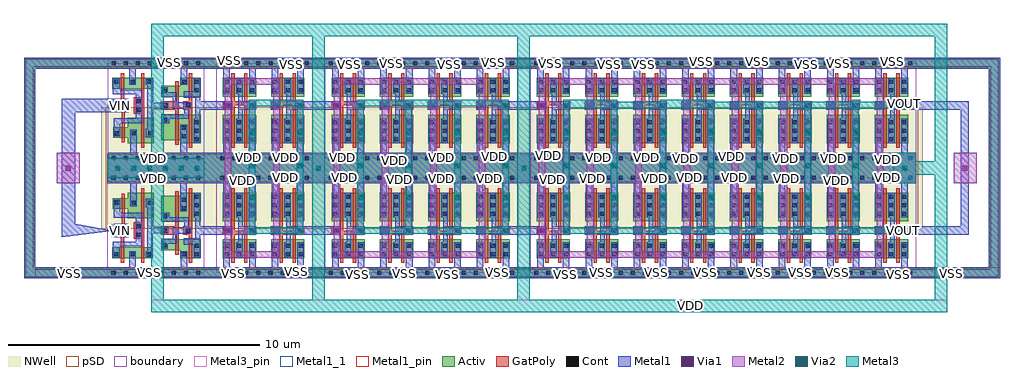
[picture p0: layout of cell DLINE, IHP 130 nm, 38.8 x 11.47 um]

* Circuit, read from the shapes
.subckt DLINE VDD VIN VOUT VSS
XM1 VSS VIN n1 VSS sg13_lv_nmos w=0.42u l=0.13u
XM2 VSS VIN n2 VSS sg13_lv_nmos w=0.42u l=0.13u
XM3 n3 n1 VSS VSS sg13_lv_nmos w=0.42u l=0.13u
XM4 n4 n2 VSS VSS sg13_lv_nmos w=0.42u l=0.13u
XM5 VSS n3 n5 VSS sg13_lv_nmos w=0.42u l=0.13u
XM6 VSS n4 n6 VSS sg13_lv_nmos w=0.42u l=0.13u
XM7 n7 n5 VSS VSS sg13_lv_nmos w=0.74u l=0.13u
XM8 n7 n6 VSS VSS sg13_lv_nmos w=0.74u l=0.13u
XM9 n8 n7 VSS VSS sg13_lv_nmos w=0.74u l=0.13u m=8
XM10 n9 n8 VSS VSS sg13_lv_nmos w=0.74u l=0.13u m=16
XM11 n10 n9 VSS VSS sg13_lv_nmos w=0.74u l=0.13u m=28
XM12 VOUT n9 VSS VSS sg13_lv_nmos w=0.74u l=0.13u m=4
XM13 VDD VIN n1 n11 sg13_lv_pmos w=0.42u l=0.13u
XM14 VDD VIN n2 n11 sg13_lv_pmos w=0.42u l=0.13u
XM15 n3 n1 VDD n11 sg13_lv_pmos w=1u l=0.13u
XM16 n4 n2 VDD n11 sg13_lv_pmos w=1u l=0.13u
XM17 VDD n3 n5 n11 sg13_lv_pmos w=1u l=0.13u
XM18 VDD n4 n6 n11 sg13_lv_pmos w=1u l=0.13u
XM19 n7 n5 VDD n11 sg13_lv_pmos w=1.12u l=0.13u
XM20 n7 n6 VDD n11 sg13_lv_pmos w=1.12u l=0.13u
XM21 n8 n7 VDD n11 sg13_lv_pmos w=1.12u l=0.13u m=8
XM22 n9 n8 VDD n11 sg13_lv_pmos w=1.12u l=0.13u m=16
XM23 n10 n9 VDD n11 sg13_lv_pmos w=1.12u l=0.13u m=28
XM24 VOUT n9 VDD n11 sg13_lv_pmos w=1.12u l=0.13u m=4
.ends

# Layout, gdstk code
import gdstk
lib = gdstk.Library(unit=1e-6, precision=1e-09)
def R(c, l, rs):  # rectangles x0, y0, x1, y1
    for r in rs: c.add(gdstk.rectangle(r[:2], r[2:], *l))
def A(c, l, x, y, w, h, nx, ny, dx, dy):  # array of equal rectangles
    R(c, l, [(x+i*dx, y+j*dy, x+i*dx+w, y+j*dy+h) for i in range(nx) for j in range(ny)])
def P(c, l, *ps):  # polygons
    for p in ps: c.add(gdstk.Polygon(p, *l))
Activ = (1, 0)
GatPoly = (5, 0)
Cont = (6, 0)
Metal1 = (8, 0)
Metal1_1 = (8, 1)
Metal1_pin = (8, 2)
Metal2 = (10, 0)
pSD = (14, 0)
Via1 = (19, 0)
Via2 = (29, 0)
Metal3 = (30, 0)
Metal3_pin = (30, 2)
NWell = (31, 0)
boundary = (189, 4)

sg13g2_dlygate4sd1_1 = lib.new_cell('sg13g2_dlygate4sd1_1')
R(sg13g2_dlygate4sd1_1, Activ, [(0,-0.15,3.84,0.15), (0.19,0.59,1.81,1.01), (0,3.63,3.84,3.93)])
P(sg13g2_dlygate4sd1_1, Activ, [(2.895,0.59),(2.895,0.91),(2.13,0.91),(2.13,1.33),(3.705,1.33),(3.705,0.59)],
  [(2.13,2.06),(2.13,3.06),(2.91,3.06),(2.91,3.18),(3.705,3.18),(3.705,2.06)],
  [(0.8,2.18),(0.8,2.555),(0.22,2.555),(0.22,2.975),(0.8,2.975),(0.8,3.18),(1.84,3.18),(1.84,2.18)])
P(sg13g2_dlygate4sd1_1, GatPoly, [(2.695,0.73),(2.695,1.52),(2.12,1.52),(2.12,1.85),(2.695,1.85),(2.695,3.24),(2.825,3.24),(2.825,0.73)],
  [(0.53,0.41),(0.53,1.74),(0.56,1.74),(0.56,3.155),(0.69,3.155),(0.69,1.74),(0.84,1.74),(0.84,1.41),(0.66,1.41),(0.66,0.41)],
  [(1.34,0.41),(1.34,1.35),(1.05,1.35),(1.05,2.02),(1.34,2.02),(1.34,3.36),(1.47,3.36),(1.47,0.41)],
  [(3.235,0.41),(3.235,1.515),(3.02,1.515),(3.02,1.845),(3.235,1.845),(3.235,3.36),(3.365,3.36),(3.365,0.41)])
A(sg13g2_dlygate4sd1_1, Cont, 0.16, -0.08, 0.16, 0.16, 8, 2, 0.48, 3.78)
A(sg13g2_dlygate4sd1_1, Cont, 0.26, 0.66, 0.16, 0.16, 3, 1, 0.66, 0)
A(sg13g2_dlygate4sd1_1, Cont, 3.475, 2.27, 0.16, 0.16, 1, 3, 0, 0.34)
R(sg13g2_dlygate4sd1_1, Cont, [(2.965,0.66,3.125,0.82), (3.475,0.66,3.635,0.82), (3.475,1,3.635,1.16), (2.2,1.015,2.36,1.175), (1.165,1.435,1.325,1.595), (0.605,1.495,0.765,1.655), (3.105,1.6,3.265,1.76), (2.205,1.605,2.365,1.765), (1.165,1.775,1.325,1.935), (2.215,2.165,2.375,2.325), (2.95,2.495,3.11,2.655), (0.29,2.7,0.45,2.86), (0.96,2.7,1.12,2.86), (1.61,2.7,1.77,2.86), (2.95,2.835,3.11,2.995)])
R(sg13g2_dlygate4sd1_1, Metal1, [(3.025,1.12,3.685,1.37), (0.24,1.425,0.835,1.945)])
P(sg13g2_dlygate4sd1_1, Metal1, [(2.155,0.96),(2.155,1.36),(2.595,1.36),(2.595,1.81),(3.045,1.81),(3.045,2.03),(2.14,2.03),(2.14,2.395),(2.45,2.395),(2.45,2.205),(3.235,2.205),(3.235,1.81),(3.315,1.81),(3.315,1.55),(2.755,1.55),(2.755,1.16),(2.395,1.16),(2.395,0.96)],
  [(3.425,0.61),(3.425,1.37),(3.495,1.37),(3.495,2.22),(3.43,2.22),(3.43,3.16),(3.685,3.16),(3.685,0.61)],
  [(1.52,0.615),(1.52,0.87),(1.58,0.87),(1.58,2.615),(1.52,2.615),(1.52,2.945),(1.825,2.945),(1.825,1.83),(2.415,1.83),(2.415,1.57),(1.81,1.57),(1.81,0.615)],
  [(0.21,0.61),(0.21,1.24),(1.12,1.24),(1.12,2.195),(0.24,2.195),(0.24,2.91),(0.5,2.91),(0.5,2.4),(1.375,2.4),(1.375,1.065),(0.48,1.065),(0.48,0.61)],
  [(2.9,2.455),(2.9,3.56),(1.17,3.56),(1.17,2.65),(0.91,2.65),(0.91,3.56),(0,3.56),(0,4),(3.84,4),(3.84,3.56),(3.16,3.56),(3.16,2.455)],
  [(0,-0.22),(0,0.22),(0.87,0.22),(0.87,0.87),(1.13,0.87),(1.13,0.22),(2.915,0.22),(2.915,0.87),(3.175,0.87),(3.175,0.22),(3.84,0.22),(3.84,-0.22)])
R(sg13g2_dlygate4sd1_1, Metal1_pin, [(0,-0.22,3.84,0.22), (3.025,1.12,3.685,1.37), (0.24,1.425,0.835,1.945), (0,3.56,3.84,4)])
R(sg13g2_dlygate4sd1_1, pSD, [(-0.07,-0.18,3.91,0.18), (-0.07,1.76,3.91,3.6)])
R(sg13g2_dlygate4sd1_1, NWell, [(-0.24,1.75,4.08,4.17)])
R(sg13g2_dlygate4sd1_1, boundary, [(0,0,3.84,3.78)])

sg13g2_inv_2 = lib.new_cell('sg13g2_inv_2')
R(sg13g2_inv_2, Activ, [(0,-0.15,1.92,0.15), (0.265,0.59,1.585,1.33), (0.265,2.06,1.59,3.18), (0,3.63,1.92,3.93)])
P(sg13g2_inv_2, GatPoly, [(0.605,0.41),(0.605,1.52),(0.305,1.52),(0.305,1.85),(0.605,1.85),(0.605,3.36),(0.735,3.36),(0.735,1.67),(1.115,1.67),(1.115,3.36),(1.245,3.36),(1.245,0.41),(1.115,0.41),(1.115,1.52),(0.735,1.52),(0.735,0.41)])
A(sg13g2_inv_2, Cont, 0.335, 0.66, 0.16, 0.16, 3, 2, 0.51, 0.34)
A(sg13g2_inv_2, Cont, 0.335, 2.27, 0.16, 0.16, 1, 3, 0, 0.34)
A(sg13g2_inv_2, Cont, 0.845, 2.27, 0.16, 0.16, 1, 3, 0, 0.34)
A(sg13g2_inv_2, Cont, 1.36, 2.27, 0.16, 0.16, 1, 3, 0, 0.34)
R(sg13g2_inv_2, Cont, [(0.16,-0.08,0.32,0.08), (0.16,-0.08,0.32,0.08), (0.64,-0.08,0.8,0.08), (0.64,-0.08,0.8,0.08), (1.12,-0.08,1.28,0.08), (1.12,-0.08,1.28,0.08), (1.6,-0.08,1.76,0.08), (1.6,-0.08,1.76,0.08), (0.39,1.605,0.55,1.765), (0.16,3.7,0.32,3.86), (0.16,3.7,0.32,3.86), (0.64,3.7,0.8,3.86), (0.64,3.7,0.8,3.86), (1.12,3.7,1.28,3.86), (1.12,3.7,1.28,3.86), (1.6,3.7,1.76,3.86), (1.6,3.7,1.76,3.86)])
R(sg13g2_inv_2, Metal1, [(0.255,1.52,0.635,1.85)])
P(sg13g2_inv_2, Metal1, [(0.285,2.22),(0.285,3.56),(0,3.56),(0,4),(1.92,4),(1.92,3.56),(1.57,3.56),(1.57,2.22),(1.31,2.22),(1.31,3.56),(0.545,3.56),(0.545,2.22)],
  [(0,-0.22),(0,0.22),(0.285,0.22),(0.285,1.21),(0.545,1.21),(0.545,0.22),(1.305,0.22),(1.305,1.21),(1.565,1.21),(1.565,0.22),(1.92,0.22),(1.92,-0.22)],
  [(0.795,0.61),(0.795,1.21),(0.87,1.21),(0.87,2.22),(0.795,2.22),(0.795,3.18),(1.055,3.18),(1.055,1.85),(1.59,1.85),(1.59,1.52),(1.055,1.52),(1.055,0.61)])
R(sg13g2_inv_2, Metal1_pin, [(0,-0.22,1.92,0.22), (0.255,1.52,0.635,1.85), (0.87,1.52,1.59,1.85), (0,3.56,1.92,4)])
R(sg13g2_inv_2, pSD, [(-0.07,-0.18,1.99,0.18), (-0.07,1.76,1.99,3.6)])
R(sg13g2_inv_2, NWell, [(-0.24,1.75,2.16,4.17)])
R(sg13g2_inv_2, boundary, [(0,0,1.92,3.78)])

dline = lib.new_cell('DLINE')
R(dline, Activ, [(1.07,3.72,1.22,12.36), (1.22,3.72,4.318,4.015), (1.22,3.72,1.37,12.36), (8.158,3.72,8.64,4.02), (12.475,3.72,12.96,4.02), (20.64,3.72,21.122,4.02), (36.48,3.72,39.58,4.02), (39.43,3.72,39.58,12.36), (39.58,3.72,39.73,12.36), (4.318,7.5,36.48,8.58), (8.158,7.5,8.64,7.8), (12.478,7.5,12.96,7.8), (20.638,7.5,21.12,7.8), (8.158,8.28,8.64,8.58), (12.478,8.28,12.96,8.58), (20.638,8.28,21.12,8.58), (1.22,12.06,4.32,12.36), (8.158,12.06,8.64,12.36), (12.478,12.06,12.96,12.36), (20.64,12.06,21.122,12.36)])
P(dline, Activ, [(36.48,12.06),(36.48,12.195),(36.48,12.36),(39.58,12.36),(39.58,12.06),(36.55,12.06)])
R(dline, Metal1, [(8.158,3.65,8.64,4.09), (12.475,3.65,12.96,4.09), (20.64,3.65,21.122,4.09), (4.32,7.43,36.48,8.65), (8.158,7.43,8.64,7.87), (12.478,7.43,12.96,7.87), (20.638,7.43,21.12,7.87), (8.158,8.21,8.64,8.65), (12.478,8.21,12.96,8.65), (20.638,8.21,21.12,8.65), (8.158,11.99,8.64,12.43), (12.478,11.99,12.96,12.43), (20.64,11.99,21.122,12.43)])
P(dline, Metal1_1, [(2.705,8.11),(2.705,8.11),(2.705,8.11),(2.705,8.11)])
R(dline, Metal1_pin, [(1.44,3.65,39.8,4.09), (17.775,3.73,17.905,3.86), (22.46,3.73,22.59,3.86), (14.175,3.755,14.305,3.885), (35.705,3.755,35.835,3.885), (2.735,3.77,2.865,3.9), (16.06,3.77,16.19,3.9), (37.79,3.77,37.92,3.9), (9.28,3.795,9.41,3.925), (5.92,3.81,6.05,3.94), (28.045,3.81,28.175,3.94), (30.155,3.81,30.285,3.94), (31.8,3.81,31.93,3.94), (33.275,3.81,33.405,3.94), (19.775,3.825,19.905,3.955), (23.905,3.835,24.035,3.965), (26.07,3.835,26.2,3.965), (11.775,3.865,11.905,3.995), (4.755,5.475,4.885,5.605), (35.905,5.48,36.035,5.61), (4.32,7.43,36.48,8.65), (33.235,7.465,33.365,7.595), (9.615,7.495,9.745,7.625), (15.865,7.505,15.995,7.635), (21.955,7.525,22.085,7.655), (17.525,7.54,17.655,7.67), (19.455,7.55,19.585,7.68), (31.25,7.55,31.38,7.68), (6.1,7.57,6.23,7.7), (23.53,7.57,23.66,7.7), (26.01,7.57,26.14,7.7), (35.28,7.58,35.41,7.71), (13.68,7.6,13.81,7.73), (27.385,7.6,27.515,7.73), (11.32,7.61,11.45,7.74), (29.2,7.61,29.33,7.74), (15.675,8.285,15.805,8.415), (35.26,8.315,35.39,8.445), (31.22,8.335,31.35,8.465), (33.1,8.335,33.23,8.465), (6.09,8.355,6.22,8.485), (27.225,8.355,27.355,8.485), (13.585,8.38,13.715,8.51), (17.525,8.38,17.655,8.51), (9.84,8.39,9.97,8.52), (25.685,8.39,25.815,8.52), (11.32,8.4,11.45,8.53), (23.76,8.4,23.89,8.53), (19.625,8.42,19.755,8.55), (29.045,8.45,29.175,8.58), (21.79,8.47,21.92,8.6), (4.78,10.445,4.91,10.575), (35.935,10.52,36.065,10.65), (4.32,11.99,36.48,12.43), (24.225,12.075,24.355,12.205), (11.555,12.08,11.685,12.21), (13.885,12.08,14.015,12.21), (17.865,12.09,17.995,12.22), (25.545,12.105,25.675,12.235), (32.035,12.105,32.165,12.235), (15.525,12.115,15.655,12.245), (21.86,12.115,21.99,12.245), (33.32,12.115,33.45,12.245), (6.72,12.155,6.85,12.285), (19.605,12.17,19.735,12.3), (30.105,12.19,30.235,12.32), (27.87,12.2,28,12.33), (35.46,12.2,35.59,12.33), (9.095,12.25,9.225,12.38)])
R(dline, Metal2, [(2.3,7.43,3.215,8.65), (12.453,7.43,12.95,8.65), (20.61,7.43,21.145,8.65), (35.565,7.43,36.48,8.65), (37.955,7.43,38.87,8.65), (4.32,7.65,8.158,8.43)])
R(dline, pSD, [(1.04,3.69,4.248,4.05), (8.228,3.69,8.57,4.05), (12.545,3.69,12.89,4.05), (20.71,3.69,21.052,4.05), (36.55,3.69,39.4,4.05), (39.4,3.69,39.76,12.03), (1.04,4.05,1.4,12.39), (4.248,5.63,36.55,10.45), (8.228,5.63,8.57,7.47), (12.549,5.63,12.89,7.47), (20.71,5.63,21.05,7.47), (8.23,8.61,8.57,10.45), (12.55,8.61,12.89,10.45), (20.71,8.61,21.05,10.45), (1.4,12.03,4.25,12.39), (8.228,12.03,8.57,12.39), (12.548,12.03,12.89,12.39), (20.71,12.03,21.052,12.39), (36.55,12.03,36.552,12.39), (36.552,12.03,39.76,12.39)])
P(dline, pSD, [(36.552,12.03),(36.552,12.03),(36.552,12.03),(36.552,12.03)])
A(dline, Via1, 9.015, 5.46, 0.19, 0.19, 3, 1, 0.96, 0)
A(dline, Via1, 30.13, 5.46, 0.19, 0.19, 3, 1, 0.965, 0)
A(dline, Via1, 31.095, 10.425, 0.19, 0.19, 3, 1, 0.96, 0)
R(dline, Via1, [(11.88,5.46,12.07,5.65), (13.34,5.46,13.53,5.65), (14.285,5.46,14.475,5.65), (15.26,5.46,15.45,5.65), (16.2,5.46,16.39,5.65), (17.175,5.46,17.365,5.65), (18.14,5.46,18.33,5.65), (19.1,5.46,19.29,5.65), (20.04,5.46,20.23,5.65), (21.495,5.46,21.685,5.65), (22.46,5.46,22.65,5.65), (23.41,5.46,23.6,5.65), (24.365,5.46,24.555,5.65), (25.335,5.46,25.525,5.65), (26.295,5.46,26.485,5.65), (27.25,5.46,27.44,5.65), (28.2,5.46,28.39,5.65), (29.175,5.46,29.365,5.65), (33.01,5.46,33.2,5.65), (33.955,5.46,34.145,5.65), (34.935,5.46,35.125,5.65), (35.9,5.46,36.09,5.65), (5.895,7.935,6.085,8.125), (7.785,7.935,7.975,8.125), (12.61,7.935,12.8,8.125), (20.78,7.935,20.97,8.125), (20.78,7.935,20.97,8.125), (35.915,7.935,36.105,8.125), (2.665,7.94,2.855,8.13), (4.635,7.94,4.825,8.13), (5.265,7.94,5.455,8.13), (6.525,7.94,6.715,8.13), (7.155,7.94,7.345,8.13), (38.305,7.94,38.495,8.13), (9.01,10.425,9.2,10.615), (9.97,10.425,10.16,10.615), (10.935,10.425,11.125,10.615), (11.875,10.425,12.065,10.615), (13.335,10.425,13.525,10.615), (14.28,10.425,14.47,10.615), (15.255,10.425,15.445,10.615), (16.195,10.425,16.385,10.615), (17.18,10.425,17.37,10.615), (18.135,10.425,18.325,10.615), (19.095,10.425,19.285,10.615), (20.035,10.425,20.225,10.615), (21.505,10.425,21.695,10.615), (22.455,10.425,22.645,10.615), (23.41,10.425,23.6,10.615), (24.36,10.425,24.55,10.615), (25.335,10.425,25.525,10.615), (26.29,10.425,26.48,10.615), (27.255,10.425,27.445,10.615), (28.195,10.425,28.385,10.615), (29.175,10.425,29.365,10.615), (30.125,10.425,30.315,10.615), (33.95,10.425,34.14,10.615), (35.895,10.425,36.085,10.615), (34.935,10.43,35.125,10.62)])
R(dline, Via2, [(9.975,5.46,10.165,5.65), (9.975,5.46,10.165,5.65), (11.88,5.46,12.07,5.65), (11.88,5.46,12.07,5.65), (14.285,5.46,14.475,5.65), (14.285,5.46,14.475,5.65), (16.19,5.46,16.38,5.65), (16.19,5.46,16.38,5.65), (18.14,5.46,18.33,5.65), (18.14,5.46,18.33,5.65), (20.045,5.46,20.235,5.65), (20.045,5.46,20.235,5.65), (22.46,5.46,22.65,5.65), (22.46,5.46,22.65,5.65), (24.365,5.46,24.555,5.65), (24.365,5.46,24.555,5.65), (26.3,5.46,26.49,5.65), (26.3,5.46,26.49,5.65), (28.205,5.46,28.395,5.65), (28.205,5.46,28.395,5.65), (30.16,5.46,30.35,5.65), (30.16,5.46,30.35,5.65), (30.16,5.46,30.35,5.65), (30.16,5.46,30.35,5.65), (32.065,5.46,32.255,5.65), (32.065,5.46,32.255,5.65), (32.065,5.46,32.255,5.65), (32.065,5.46,32.255,5.65), (33.955,5.46,34.145,5.65), (33.955,5.46,34.145,5.65), (33.955,5.46,34.145,5.65), (33.955,5.46,34.145,5.65), (35.9,5.46,36.09,5.65), (35.9,5.46,36.09,5.65), (35.9,5.46,36.09,5.65), (35.9,5.46,36.09,5.65), (9.98,6.765,10.17,6.955), (11.88,6.765,12.07,6.955), (14.28,6.765,14.47,6.955), (16.205,6.765,16.395,6.955), (18.14,6.765,18.33,6.955), (20.045,6.765,20.235,6.955), (22.46,6.765,22.65,6.955), (24.365,6.765,24.555,6.955), (26.3,6.765,26.49,6.955), (28.21,6.765,28.4,6.955), (30.145,6.765,30.335,6.955), (32.07,6.765,32.26,6.955), (33.955,6.765,34.145,6.955), (5.895,7.935,6.085,8.125), (7.785,7.935,7.975,8.125), (12.61,7.935,12.8,8.125), (20.78,7.935,20.97,8.125), (35.915,7.935,36.105,8.125), (4.635,7.94,4.825,8.13), (5.265,7.94,5.455,8.13), (6.525,7.94,6.715,8.13), (7.155,7.94,7.345,8.13), (9.98,8.04,10.17,8.23), (11.88,8.04,12.07,8.23), (14.28,8.04,14.47,8.23), (16.205,8.04,16.395,8.23), (18.14,8.04,18.33,8.23), (20.045,8.04,20.235,8.23), (22.46,8.04,22.65,8.23), (24.365,8.04,24.555,8.23), (26.3,8.04,26.49,8.23), (28.21,8.04,28.4,8.23), (30.145,8.04,30.335,8.23), (32.07,8.04,32.26,8.23), (33.955,8.04,34.145,8.23), (9.98,9.35,10.17,9.54), (11.88,9.35,12.07,9.54), (14.28,9.35,14.47,9.54), (16.205,9.35,16.395,9.54), (18.14,9.35,18.33,9.54), (20.045,9.35,20.235,9.54), (22.46,9.35,22.65,9.54), (24.365,9.35,24.555,9.54), (26.3,9.35,26.49,9.54), (28.21,9.35,28.4,9.54), (30.145,9.35,30.335,9.54), (32.07,9.35,32.26,9.54), (33.955,9.35,34.145,9.54), (9.97,10.425,10.16,10.615), (9.97,10.425,10.16,10.615), (11.875,10.425,12.065,10.615), (11.875,10.425,12.065,10.615), (14.28,10.425,14.47,10.615), (14.28,10.425,14.47,10.615), (16.185,10.425,16.375,10.615), (16.185,10.425,16.375,10.615), (18.135,10.425,18.325,10.615), (18.135,10.425,18.325,10.615), (20.04,10.425,20.23,10.615), (20.04,10.425,20.23,10.615), (22.455,10.425,22.645,10.615), (22.455,10.425,22.645,10.615), (24.36,10.425,24.55,10.615), (24.36,10.425,24.55,10.615), (26.295,10.425,26.485,10.615), (26.295,10.425,26.485,10.615), (28.2,10.425,28.39,10.615), (28.2,10.425,28.39,10.615), (30.155,10.425,30.345,10.615), (30.155,10.425,30.345,10.615), (30.155,10.425,30.345,10.615), (30.155,10.425,30.345,10.615), (32.06,10.425,32.25,10.615), (32.06,10.425,32.25,10.615), (32.06,10.425,32.25,10.615), (32.06,10.425,32.25,10.615), (33.95,10.425,34.14,10.615), (33.95,10.425,34.14,10.615), (33.95,10.425,34.14,10.615), (33.95,10.425,34.14,10.615), (35.895,10.425,36.085,10.615), (35.895,10.425,36.085,10.615), (35.895,10.425,36.085,10.615), (35.895,10.425,36.085,10.615)])
R(dline, Metal3, [(12.452,7.43,12.953,8.65), (35.565,7.43,36.48,8.65), (4.32,7.65,8.158,8.43)])
P(dline, Metal3, [(20.615,7.43),(20.615,8.65),(21.115,8.65),(21.115,8.61),(21.115,7.43)])
R(dline, Metal3_pin, [(6.055,2.305,37.71,2.805)])
dline.add(gdstk.FlexPath([(36.48,3.87),(39.58,3.87),(39.58,12.21),(36.482,12.21),(36.48,12.21)], 0.44, ends="flush", simple_path=True, layer=8, datatype=0))  # Metal1
dline.add(gdstk.FlexPath([(4.32,12.21),(1.22,12.21),(1.22,3.87),(4.318,3.87),(4.318,3.87),(4.318,3.87)], 0.44, ends="flush", simple_path=True, layer=8, datatype=0))  # Metal1
dline.add(gdstk.FlexPath([(4.56,10.525),(2.77,10.525),(2.77,5.555),(4.558,5.555),(4.48,5.555)], 0.52, ends="flush", simple_path=True, layer=8, datatype=0))  # Metal1
dline.add(gdstk.FlexPath([(8.895,5.555),(8.003,5.555)], 0.33, ends="flush", simple_path=True, layer=8, datatype=0))  # Metal1
dline.add(gdstk.FlexPath([(8.895,10.525),(8.003,10.525)], 0.33, ends="flush", simple_path=True, layer=8, datatype=0))  # Metal1
dline.add(gdstk.FlexPath([(13.215,5.555),(12.145,5.555)], 0.33, ends="flush", simple_path=True, layer=8, datatype=0))  # Metal1
dline.add(gdstk.FlexPath([(13.215,10.525),(12.145,10.525)], 0.33, ends="flush", simple_path=True, layer=8, datatype=0))  # Metal1
dline.add(gdstk.FlexPath([(21.38,10.525),(20.31,10.525)], 0.33, ends="flush", simple_path=True, layer=8, datatype=0))  # Metal1
dline.add(gdstk.FlexPath([(36.15,10.525),(38.4,10.525),(38.4,5.555),(36.15,5.555)], 0.33, ends="flush", simple_path=True, layer=8, datatype=0))  # Metal1
dline.add(gdstk.FlexPath([(21.38,5.555),(20.31,5.555)], 0.33, ends="flush", simple_path=True, layer=8, datatype=0))  # Metal1
dline.add(gdstk.FlexPath([(13.435,4.6),(13.435,11.6)], 0.26, ends="flush", simple_path=True, layer=10, datatype=0))  # Metal2
dline.add(gdstk.FlexPath([(15.365,4.61),(15.365,11.605)], 0.26, ends="flush", simple_path=True, layer=10, datatype=0))  # Metal2
dline.add(gdstk.FlexPath([(13.305,4.6),(15.495,4.6)], 0.26, ends="flush", simple_path=True, layer=10, datatype=0))  # Metal2
dline.add(gdstk.FlexPath([(13.305,11.475),(15.495,11.475)], 0.26, ends="flush", simple_path=True, layer=10, datatype=0))  # Metal2
dline.add(gdstk.FlexPath([(15.35,4.6),(15.35,11.6)], 0.26, ends="flush", simple_path=True, layer=10, datatype=0))  # Metal2
dline.add(gdstk.FlexPath([(17.28,4.61),(17.28,11.605)], 0.26, ends="flush", simple_path=True, layer=10, datatype=0))  # Metal2
dline.add(gdstk.FlexPath([(15.22,4.6),(17.41,4.6)], 0.26, ends="flush", simple_path=True, layer=10, datatype=0))  # Metal2
dline.add(gdstk.FlexPath([(15.22,11.475),(17.41,11.475)], 0.26, ends="flush", simple_path=True, layer=10, datatype=0))  # Metal2
dline.add(gdstk.FlexPath([(17.275,4.6),(17.275,11.6)], 0.26, ends="flush", simple_path=True, layer=10, datatype=0))  # Metal2
dline.add(gdstk.FlexPath([(19.205,4.61),(19.205,11.605)], 0.26, ends="flush", simple_path=True, layer=10, datatype=0))  # Metal2
dline.add(gdstk.FlexPath([(17.145,4.6),(19.335,4.6)], 0.26, ends="flush", simple_path=True, layer=10, datatype=0))  # Metal2
dline.add(gdstk.FlexPath([(17.145,11.475),(19.335,11.475)], 0.26, ends="flush", simple_path=True, layer=10, datatype=0))  # Metal2
dline.add(gdstk.FlexPath([(23.515,4.6),(23.515,11.6)], 0.26, ends="flush", simple_path=True, layer=10, datatype=0))  # Metal2
dline.add(gdstk.FlexPath([(25.43,4.61),(25.43,11.605)], 0.26, ends="flush", simple_path=True, layer=10, datatype=0))  # Metal2
dline.add(gdstk.FlexPath([(23.385,4.6),(25.575,4.6)], 0.26, ends="flush", simple_path=True, layer=10, datatype=0))  # Metal2
dline.add(gdstk.FlexPath([(23.385,11.485),(25.575,11.485)], 0.26, ends="flush", simple_path=True, layer=10, datatype=0))  # Metal2
dline.add(gdstk.FlexPath([(21.46,11.475),(23.635,11.475)], 0.26, ends="flush", simple_path=True, layer=10, datatype=0))  # Metal2
dline.add(gdstk.FlexPath([(21.46,4.6),(23.635,4.6)], 0.26, ends="flush", simple_path=True, layer=10, datatype=0))  # Metal2
dline.add(gdstk.FlexPath([(23.505,4.61),(23.505,11.605)], 0.26, ends="flush", simple_path=True, layer=10, datatype=0))  # Metal2
dline.add(gdstk.FlexPath([(21.59,4.6),(21.59,11.6)], 0.26, ends="flush", simple_path=True, layer=10, datatype=0))  # Metal2
dline.add(gdstk.FlexPath([(29.275,4.6),(29.275,11.6)], 0.26, ends="flush", simple_path=True, layer=10, datatype=0))  # Metal2
dline.add(gdstk.FlexPath([(31.205,4.61),(31.205,11.605)], 0.26, ends="flush", simple_path=True, layer=10, datatype=0))  # Metal2
dline.add(gdstk.FlexPath([(29.145,4.6),(31.335,4.6)], 0.26, ends="flush", simple_path=True, layer=10, datatype=0))  # Metal2
dline.add(gdstk.FlexPath([(29.145,11.475),(31.335,11.475)], 0.26, ends="flush", simple_path=True, layer=10, datatype=0))  # Metal2
dline.add(gdstk.FlexPath([(27.205,11.475),(29.395,11.475)], 0.26, ends="flush", simple_path=True, layer=10, datatype=0))  # Metal2
dline.add(gdstk.FlexPath([(27.205,4.6),(29.395,4.6)], 0.26, ends="flush", simple_path=True, layer=10, datatype=0))  # Metal2
dline.add(gdstk.FlexPath([(27.335,4.6),(27.335,11.6)], 0.26, ends="flush", simple_path=True, layer=10, datatype=0))  # Metal2
dline.add(gdstk.FlexPath([(27.35,5.39),(27.35,10.69)], 0.26, ends="flush", simple_path=True, layer=10, datatype=0))  # Metal2
dline.add(gdstk.FlexPath([(31.19,5.39),(31.19,10.69)], 0.26, ends="flush", simple_path=True, layer=10, datatype=0))  # Metal2
dline.add(gdstk.FlexPath([(35.03,4.47),(35.03,11.44)], 0.26, ends="flush", simple_path=True, layer=10, datatype=0))  # Metal2
dline.add(gdstk.FlexPath([(25.315,11.485),(27.505,11.485)], 0.26, ends="flush", simple_path=True, layer=10, datatype=0))  # Metal2
dline.add(gdstk.FlexPath([(25.285,4.6),(27.475,4.6)], 0.26, ends="flush", simple_path=True, layer=10, datatype=0))  # Metal2
dline.add(gdstk.FlexPath([(31.185,4.6),(31.185,11.6)], 0.26, ends="flush", simple_path=True, layer=10, datatype=0))  # Metal2
dline.add(gdstk.FlexPath([(33.115,4.605),(33.115,11.6)], 0.26, ends="flush", simple_path=True, layer=10, datatype=0))  # Metal2
dline.add(gdstk.FlexPath([(31.07,4.6),(33.26,4.6)], 0.26, ends="flush", simple_path=True, layer=10, datatype=0))  # Metal2
dline.add(gdstk.FlexPath([(31.07,11.475),(33.26,11.475)], 0.26, ends="flush", simple_path=True, layer=10, datatype=0))  # Metal2
dline.add(gdstk.FlexPath([(33.115,5.39),(33.115,10.69)], 0.26, ends="flush", simple_path=True, layer=10, datatype=0))  # Metal2
dline.add(gdstk.FlexPath([(31.19,5.39),(31.19,10.69)], 0.26, ends="flush", simple_path=True, layer=10, datatype=0))  # Metal2
dline.add(gdstk.FlexPath([(33.11,5.39),(33.11,10.69)], 0.26, ends="flush", simple_path=True, layer=10, datatype=0))  # Metal2
dline.add(gdstk.FlexPath([(32.97,4.6),(35.16,4.6)], 0.26, ends="flush", simple_path=True, layer=10, datatype=0))  # Metal2
dline.add(gdstk.FlexPath([(32.975,11.475),(35.165,11.475)], 0.26, ends="flush", simple_path=True, layer=10, datatype=0))  # Metal2
dline.add(gdstk.FlexPath([(18.235,5.39),(18.235,5.58),(18.235,10.69)], 0.26, ends="flush", simple_path=True, layer=10, datatype=0))  # Metal2
dline.add(gdstk.FlexPath([(9.11,4.6),(9.11,11.6)], 0.26, ends="flush", simple_path=True, layer=10, datatype=0))  # Metal2
dline.add(gdstk.FlexPath([(11.04,4.61),(11.04,11.605)], 0.26, ends="flush", simple_path=True, layer=10, datatype=0))  # Metal2
dline.add(gdstk.FlexPath([(13.435,5.39),(13.435,10.69)], 0.26, ends="flush", simple_path=True, layer=10, datatype=0))  # Metal2
dline.add(gdstk.FlexPath([(15.355,5.39),(15.355,10.69)], 0.26, ends="flush", simple_path=True, layer=10, datatype=0))  # Metal2
dline.add(gdstk.FlexPath([(17.275,5.39),(17.275,10.69)], 0.26, ends="flush", simple_path=True, layer=10, datatype=0))  # Metal2
dline.add(gdstk.FlexPath([(19.2,5.39),(19.2,10.69)], 0.26, ends="flush", simple_path=True, layer=10, datatype=0))  # Metal2
dline.add(gdstk.FlexPath([(21.59,5.39),(21.59,10.69)], 0.26, ends="flush", simple_path=True, layer=10, datatype=0))  # Metal2
dline.add(gdstk.FlexPath([(23.515,5.39),(23.515,10.69)], 0.26, ends="flush", simple_path=True, layer=10, datatype=0))  # Metal2
dline.add(gdstk.FlexPath([(25.43,5.39),(25.43,10.69)], 0.26, ends="flush", simple_path=True, layer=10, datatype=0))  # Metal2
dline.add(gdstk.FlexPath([(27.35,5.39),(27.35,10.69)], 0.26, ends="flush", simple_path=True, layer=10, datatype=0))  # Metal2
dline.add(gdstk.FlexPath([(29.265,5.39),(29.265,10.69)], 0.26, ends="flush", simple_path=True, layer=10, datatype=0))  # Metal2
dline.add(gdstk.FlexPath([(31.185,5.39),(31.185,10.69)], 0.26, ends="flush", simple_path=True, layer=10, datatype=0))  # Metal2
dline.add(gdstk.FlexPath([(33.11,5.39),(33.11,10.69)], 0.26, ends="flush", simple_path=True, layer=10, datatype=0))  # Metal2
dline.add(gdstk.FlexPath([(35.025,5.39),(35.025,10.69)], 0.26, ends="flush", simple_path=True, layer=10, datatype=0))  # Metal2
dline.add(gdstk.FlexPath([(10.07,5.39),(10.07,10.69)], 0.26, ends="flush", simple_path=True, layer=10, datatype=0))  # Metal2
dline.add(gdstk.FlexPath([(11.975,5.39),(11.975,10.69)], 0.26, ends="flush", simple_path=True, layer=10, datatype=0))  # Metal2
dline.add(gdstk.FlexPath([(14.38,5.39),(14.38,10.69)], 0.26, ends="flush", simple_path=True, layer=10, datatype=0))  # Metal2
dline.add(gdstk.FlexPath([(16.295,5.39),(16.295,10.69)], 0.26, ends="flush", simple_path=True, layer=10, datatype=0))  # Metal2
dline.add(gdstk.FlexPath([(20.135,5.39),(20.135,10.69)], 0.26, ends="flush", simple_path=True, layer=10, datatype=0))  # Metal2
dline.add(gdstk.FlexPath([(22.555,5.39),(22.555,10.69)], 0.26, ends="flush", simple_path=True, layer=10, datatype=0))  # Metal2
dline.add(gdstk.FlexPath([(24.46,5.39),(24.46,10.69)], 0.26, ends="flush", simple_path=True, layer=10, datatype=0))  # Metal2
dline.add(gdstk.FlexPath([(26.39,5.39),(26.39,10.69)], 0.26, ends="flush", simple_path=True, layer=10, datatype=0))  # Metal2
dline.add(gdstk.FlexPath([(28.295,5.39),(28.295,10.69)], 0.26, ends="flush", simple_path=True, layer=10, datatype=0))  # Metal2
dline.add(gdstk.FlexPath([(30.225,5.39),(30.225,10.69)], 0.26, ends="flush", simple_path=True, layer=10, datatype=0))  # Metal2
dline.add(gdstk.FlexPath([(32.155,5.39),(32.155,10.69)], 0.26, ends="flush", simple_path=True, layer=10, datatype=0))  # Metal2
dline.add(gdstk.FlexPath([(34.05,5.39),(34.05,10.69)], 0.26, ends="flush", simple_path=True, layer=10, datatype=0))  # Metal2
dline.add(gdstk.FlexPath([(8.98,4.6),(11.17,4.6)], 0.26, ends="flush", simple_path=True, layer=10, datatype=0))  # Metal2
dline.add(gdstk.FlexPath([(8.98,11.475),(11.17,11.475)], 0.26, ends="flush", simple_path=True, layer=10, datatype=0))  # Metal2
dline.add(gdstk.FlexPath([(22.555,10.535),(36.127,10.535)], 0.26, ends="flush", simple_path=True, layer=30, datatype=0))  # Metal3
dline.add(gdstk.FlexPath([(32.163,5.417),(32.163,10.545),(30.13,10.545)], 0.26, ends="flush", simple_path=True, layer=30, datatype=0))  # Metal3
dline.add(gdstk.FlexPath([(32.163,5.417),(32.163,10.545),(30.13,10.545)], 0.26, ends="flush", simple_path=True, layer=30, datatype=0))  # Metal3
dline.add(gdstk.FlexPath([(30.245,5.417),(30.245,10.545),(28.212,10.545)], 0.26, ends="flush", simple_path=True, layer=30, datatype=0))  # Metal3
dline.add(gdstk.FlexPath([(12.703,8.65),(12.703,13.525),(6.305,13.525),(6.305,8.43),(6.305,8.43),(6.305,8.43),(6.305,8.43)], 0.5, ends="flush", simple_path=True, layer=30, datatype=0))  # Metal3
dline.add(gdstk.FlexPath([(12.703,13.525),(20.785,13.525),(20.865,13.525),(20.865,8.58)], 0.5, ends="flush", simple_path=True, layer=30, datatype=0))  # Metal3
dline.add(gdstk.FlexPath([(20.865,13.525),(37.46,13.525),(37.46,8.065),(36.48,8.065)], 0.5, ends="flush", simple_path=True, layer=30, datatype=0))  # Metal3
dline.add(gdstk.FlexPath([(12.703,7.43),(12.703,2.555),(6.305,2.555),(6.305,7.65),(6.305,7.65),(6.305,7.65),(6.305,7.65)], 0.5, ends="flush", simple_path=True, layer=30, datatype=0))  # Metal3
dline.add(gdstk.FlexPath([(12.703,2.555),(20.785,2.555),(20.865,2.555),(20.865,7.5)], 0.5, ends="flush", simple_path=True, layer=30, datatype=0))  # Metal3
dline.add(gdstk.FlexPath([(20.865,2.555),(37.46,2.555),(37.46,8.015),(36.48,8.015)], 0.5, ends="flush", simple_path=True, layer=30, datatype=0))  # Metal3
dline.add(gdstk.FlexPath([(10.07,5.415),(10.07,10.615),(10.262,10.615)], 0.26, ends="flush", simple_path=True, layer=30, datatype=0))  # Metal3
dline.add(gdstk.FlexPath([(11.973,5.415),(11.973,10.615),(9.94,10.615)], 0.26, ends="flush", simple_path=True, layer=30, datatype=0))  # Metal3
dline.add(gdstk.FlexPath([(10.063,5.547),(12.096,5.547)], 0.26, ends="flush", simple_path=True, layer=30, datatype=0))  # Metal3
dline.add(gdstk.FlexPath([(10.07,5.415),(10.07,10.615),(10.262,10.615)], 0.26, ends="flush", simple_path=True, layer=30, datatype=0))  # Metal3
dline.add(gdstk.FlexPath([(11.973,5.415),(11.973,10.615),(9.94,10.615)], 0.26, ends="flush", simple_path=True, layer=30, datatype=0))  # Metal3
dline.add(gdstk.FlexPath([(10.063,5.547),(12.096,5.547)], 0.26, ends="flush", simple_path=True, layer=30, datatype=0))  # Metal3
dline.add(gdstk.FlexPath([(14.373,5.547),(16.406,5.547)], 0.26, ends="flush", simple_path=True, layer=30, datatype=0))  # Metal3
dline.add(gdstk.FlexPath([(16.283,5.415),(16.283,10.615),(14.25,10.615)], 0.26, ends="flush", simple_path=True, layer=30, datatype=0))  # Metal3
dline.add(gdstk.FlexPath([(14.38,5.415),(14.38,10.615),(14.572,10.615)], 0.26, ends="flush", simple_path=True, layer=30, datatype=0))  # Metal3
dline.add(gdstk.FlexPath([(14.373,5.547),(18.23,5.547)], 0.26, ends="flush", simple_path=True, layer=30, datatype=0))  # Metal3
dline.add(gdstk.FlexPath([(16.283,5.415),(16.283,10.615),(14.25,10.615)], 0.26, ends="flush", simple_path=True, layer=30, datatype=0))  # Metal3
dline.add(gdstk.FlexPath([(14.38,5.415),(14.38,10.615),(14.572,10.615)], 0.26, ends="flush", simple_path=True, layer=30, datatype=0))  # Metal3
dline.add(gdstk.FlexPath([(18.23,5.547),(20.263,5.547)], 0.26, ends="flush", simple_path=True, layer=30, datatype=0))  # Metal3
dline.add(gdstk.FlexPath([(20.14,5.415),(20.14,10.615),(18.107,10.615)], 0.26, ends="flush", simple_path=True, layer=30, datatype=0))  # Metal3
dline.add(gdstk.FlexPath([(18.237,5.415),(18.237,10.615),(18.429,10.615)], 0.26, ends="flush", simple_path=True, layer=30, datatype=0))  # Metal3
dline.add(gdstk.FlexPath([(18.23,5.547),(20.263,5.547)], 0.26, ends="flush", simple_path=True, layer=30, datatype=0))  # Metal3
dline.add(gdstk.FlexPath([(20.14,5.415),(20.14,10.615),(18.107,10.615)], 0.26, ends="flush", simple_path=True, layer=30, datatype=0))  # Metal3
dline.add(gdstk.FlexPath([(18.237,5.415),(18.237,10.615),(18.429,10.615)], 0.26, ends="flush", simple_path=True, layer=30, datatype=0))  # Metal3
dline.add(gdstk.FlexPath([(22.553,5.547),(24.586,5.547)], 0.26, ends="flush", simple_path=True, layer=30, datatype=0))  # Metal3
dline.add(gdstk.FlexPath([(24.463,5.415),(24.463,10.615),(22.43,10.615)], 0.26, ends="flush", simple_path=True, layer=30, datatype=0))  # Metal3
dline.add(gdstk.FlexPath([(22.56,5.415),(22.56,10.615),(22.752,10.615)], 0.26, ends="flush", simple_path=True, layer=30, datatype=0))  # Metal3
dline.add(gdstk.FlexPath([(24.463,5.415),(24.463,10.615),(22.43,10.615)], 0.26, ends="flush", simple_path=True, layer=30, datatype=0))  # Metal3
dline.add(gdstk.FlexPath([(22.56,5.415),(22.56,10.615),(22.752,10.615)], 0.26, ends="flush", simple_path=True, layer=30, datatype=0))  # Metal3
dline.add(gdstk.FlexPath([(26.395,5.547),(28.428,5.547)], 0.26, ends="flush", simple_path=True, layer=30, datatype=0))  # Metal3
dline.add(gdstk.FlexPath([(28.305,5.415),(28.305,10.615),(26.272,10.615)], 0.26, ends="flush", simple_path=True, layer=30, datatype=0))  # Metal3
dline.add(gdstk.FlexPath([(26.402,5.415),(26.402,10.615),(26.594,10.615)], 0.26, ends="flush", simple_path=True, layer=30, datatype=0))  # Metal3
dline.add(gdstk.FlexPath([(26.395,5.547),(28.428,5.547)], 0.26, ends="flush", simple_path=True, layer=30, datatype=0))  # Metal3
dline.add(gdstk.FlexPath([(28.305,5.415),(28.305,10.615),(26.272,10.615)], 0.26, ends="flush", simple_path=True, layer=30, datatype=0))  # Metal3
dline.add(gdstk.FlexPath([(26.402,5.415),(26.402,10.615),(26.594,10.615)], 0.26, ends="flush", simple_path=True, layer=30, datatype=0))  # Metal3
dline.add(gdstk.FlexPath([(30.255,5.547),(32.288,5.547)], 0.26, ends="flush", simple_path=True, layer=30, datatype=0))  # Metal3
dline.add(gdstk.FlexPath([(30.255,5.547),(32.288,5.547)], 0.26, ends="flush", simple_path=True, layer=30, datatype=0))  # Metal3
dline.add(gdstk.FlexPath([(30.255,5.547),(32.288,5.547)], 0.26, ends="flush", simple_path=True, layer=30, datatype=0))  # Metal3
dline.add(gdstk.FlexPath([(30.255,5.547),(32.288,5.547)], 0.26, ends="flush", simple_path=True, layer=30, datatype=0))  # Metal3
dline.add(gdstk.FlexPath([(22.553,5.547),(36.125,5.547)], 0.26, ends="flush", simple_path=True, layer=30, datatype=0))  # Metal3
dline.add(gdstk.FlexPath([(34.058,5.415),(34.058,10.615),(34.25,10.615)], 0.26, ends="flush", simple_path=True, layer=30, datatype=0))  # Metal3
dline.add(gdstk.FlexPath([(34.058,5.415),(34.058,10.615),(34.25,10.615)], 0.26, ends="flush", simple_path=True, layer=30, datatype=0))  # Metal3
dline.add(gdstk.FlexPath([(34.058,5.415),(34.058,10.615),(34.25,10.615)], 0.26, ends="flush", simple_path=True, layer=30, datatype=0))  # Metal3
dline.add(gdstk.FlexPath([(34.058,5.415),(34.058,10.615),(34.25,10.615)], 0.26, ends="flush", simple_path=True, layer=30, datatype=0))  # Metal3
dline.add(gdstk.FlexPath([(14.373,10.615),(18.23,10.615)], 0.26, ends="flush", simple_path=True, layer=30, datatype=0))  # Metal3
dline.add(gdstk.Reference(sg13g2_dlygate4sd1_1, (4.32,12.21), x_reflection=True))
dline.add(gdstk.Reference(sg13g2_dlygate4sd1_1, (4.318,3.87)))
dline.add(gdstk.Reference(sg13g2_inv_2, (8.64,3.87)))
dline.add(gdstk.Reference(sg13g2_inv_2, (8.64,12.21), x_reflection=True))
dline.add(gdstk.Reference(sg13g2_inv_2, (10.559,3.87)))
dline.add(gdstk.Reference(sg13g2_inv_2, (10.56,12.21), x_reflection=True))
dline.add(gdstk.Reference(sg13g2_inv_2, (12.96,3.87)))
dline.add(gdstk.Reference(sg13g2_inv_2, (12.96,12.21), x_reflection=True))
dline.add(gdstk.Reference(sg13g2_inv_2, (14.88,3.87)))
dline.add(gdstk.Reference(sg13g2_inv_2, (14.88,12.21), x_reflection=True))
dline.add(gdstk.Reference(sg13g2_inv_2, (16.8,3.87)))
dline.add(gdstk.Reference(sg13g2_inv_2, (16.8,12.21), x_reflection=True))
dline.add(gdstk.Reference(sg13g2_inv_2, (18.72,3.87)))
dline.add(gdstk.Reference(sg13g2_inv_2, (18.72,12.21), x_reflection=True))
dline.add(gdstk.Reference(sg13g2_inv_2, (21.12,3.87)))
dline.add(gdstk.Reference(sg13g2_inv_2, (21.12,12.21), x_reflection=True))
dline.add(gdstk.Reference(sg13g2_inv_2, (23.04,3.87)))
dline.add(gdstk.Reference(sg13g2_inv_2, (24.96,3.87)))
dline.add(gdstk.Reference(sg13g2_inv_2, (24.96,12.21), x_reflection=True))
dline.add(gdstk.Reference(sg13g2_inv_2, (26.88,3.87)))
dline.add(gdstk.Reference(sg13g2_inv_2, (26.88,12.21), x_reflection=True))
dline.add(gdstk.Reference(sg13g2_inv_2, (28.8,3.87)))
dline.add(gdstk.Reference(sg13g2_inv_2, (28.8,12.21), x_reflection=True))
dline.add(gdstk.Reference(sg13g2_inv_2, (30.72,3.87)))
dline.add(gdstk.Reference(sg13g2_inv_2, (32.64,3.87)))
dline.add(gdstk.Reference(sg13g2_inv_2, (32.64,12.21), x_reflection=True))
dline.add(gdstk.Reference(sg13g2_inv_2, (34.56,12.21), x_reflection=True))
dline.add(gdstk.Reference(sg13g2_inv_2, (30.72,12.21), x_reflection=True))
dline.add(gdstk.Reference(sg13g2_inv_2, (23.04,12.21), x_reflection=True))
dline.add(gdstk.Reference(sg13g2_inv_2, (34.56,3.87)))
dline.add(gdstk.Label('VIN', (4.82,5.54), layer=8, texttype=25))
dline.add(gdstk.Label('VIN', (4.845,10.51), layer=8, texttype=25))
dline.add(gdstk.Label('VOUT', (35.97,5.545), layer=8, texttype=25))
dline.add(gdstk.Label('VOUT', (36,10.585), layer=8, texttype=25))
dline.add(gdstk.Label('VDD', (6.165,7.635), layer=8, texttype=25))
dline.add(gdstk.Label('VDD', (6.155,8.42), layer=8, texttype=25))
dline.add(gdstk.Label('VDD', (9.905,8.455), layer=8, texttype=25))
dline.add(gdstk.Label('VDD', (9.68,7.56), layer=8, texttype=25))
dline.add(gdstk.Label('VDD', (11.385,8.465), layer=8, texttype=25))
dline.add(gdstk.Label('VDD', (11.385,7.675), layer=8, texttype=25))
dline.add(gdstk.Label('VDD', (13.65,8.445), layer=8, texttype=25))
dline.add(gdstk.Label('VDD', (13.745,7.665), layer=8, texttype=25))
dline.add(gdstk.Label('VDD', (15.74,8.35), layer=8, texttype=25))
dline.add(gdstk.Label('VDD', (15.93,7.57), layer=8, texttype=25))
dline.add(gdstk.Label('VDD', (17.59,8.445), layer=8, texttype=25))
dline.add(gdstk.Label('VDD', (17.59,7.605), layer=8, texttype=25))
dline.add(gdstk.Label('VDD', (19.69,8.485), layer=8, texttype=25))
dline.add(gdstk.Label('VDD', (19.52,7.615), layer=8, texttype=25))
dline.add(gdstk.Label('VDD', (22.02,7.59), layer=8, texttype=25))
dline.add(gdstk.Label('VDD', (21.855,8.535), layer=8, texttype=25))
dline.add(gdstk.Label('VDD', (23.825,8.465), layer=8, texttype=25))
dline.add(gdstk.Label('VDD', (23.595,7.635), layer=8, texttype=25))
dline.add(gdstk.Label('VDD', (25.75,8.455), layer=8, texttype=25))
dline.add(gdstk.Label('VDD', (26.075,7.635), layer=8, texttype=25))
dline.add(gdstk.Label('VDD', (27.29,8.42), layer=8, texttype=25))
dline.add(gdstk.Label('VDD', (27.45,7.665), layer=8, texttype=25))
dline.add(gdstk.Label('VDD', (29.11,8.515), layer=8, texttype=25))
dline.add(gdstk.Label('VDD', (29.265,7.675), layer=8, texttype=25))
dline.add(gdstk.Label('VDD', (31.285,8.4), layer=8, texttype=25))
dline.add(gdstk.Label('VDD', (31.315,7.615), layer=8, texttype=25))
dline.add(gdstk.Label('VDD', (33.165,8.4), layer=8, texttype=25))
dline.add(gdstk.Label('VDD', (33.3,7.53), layer=8, texttype=25))
dline.add(gdstk.Label('VDD', (35.325,8.38), layer=8, texttype=25))
dline.add(gdstk.Label('VDD', (35.345,7.645), layer=8, texttype=25))
dline.add(gdstk.Label('VSS', (35.525,12.265), layer=8, texttype=25))
dline.add(gdstk.Label('VSS', (33.385,12.18), layer=8, texttype=25))
dline.add(gdstk.Label('VSS', (32.1,12.17), layer=8, texttype=25))
dline.add(gdstk.Label('VSS', (30.17,12.255), layer=8, texttype=25))
dline.add(gdstk.Label('VSS', (27.935,12.265), layer=8, texttype=25))
dline.add(gdstk.Label('VSS', (25.61,12.17), layer=8, texttype=25))
dline.add(gdstk.Label('VSS', (24.29,12.14), layer=8, texttype=25))
dline.add(gdstk.Label('VSS', (21.925,12.18), layer=8, texttype=25))
dline.add(gdstk.Label('VSS', (19.67,12.235), layer=8, texttype=25))
dline.add(gdstk.Label('VSS', (17.93,12.155), layer=8, texttype=25))
dline.add(gdstk.Label('VSS', (15.59,12.18), layer=8, texttype=25))
dline.add(gdstk.Label('VSS', (13.95,12.145), layer=8, texttype=25))
dline.add(gdstk.Label('VSS', (11.62,12.145), layer=8, texttype=25))
dline.add(gdstk.Label('VSS', (9.16,12.315), layer=8, texttype=25))
dline.add(gdstk.Label('VSS', (6.785,12.22), layer=8, texttype=25))
dline.add(gdstk.Label('VSS', (2.8,3.835), layer=8, texttype=25))
dline.add(gdstk.Label('VSS', (5.985,3.875), layer=8, texttype=25))
dline.add(gdstk.Label('VSS', (9.345,3.86), layer=8, texttype=25))
dline.add(gdstk.Label('VSS', (11.84,3.93), layer=8, texttype=25))
dline.add(gdstk.Label('VSS', (14.24,3.82), layer=8, texttype=25))
dline.add(gdstk.Label('VSS', (16.125,3.835), layer=8, texttype=25))
dline.add(gdstk.Label('VSS', (17.84,3.795), layer=8, texttype=25))
dline.add(gdstk.Label('VSS', (19.84,3.89), layer=8, texttype=25))
dline.add(gdstk.Label('VSS', (22.525,3.795), layer=8, texttype=25))
dline.add(gdstk.Label('VSS', (23.97,3.9), layer=8, texttype=25))
dline.add(gdstk.Label('VSS', (26.135,3.9), layer=8, texttype=25))
dline.add(gdstk.Label('VSS', (28.11,3.875), layer=8, texttype=25))
dline.add(gdstk.Label('VSS', (30.22,3.875), layer=8, texttype=25))
dline.add(gdstk.Label('VSS', (31.865,3.875), layer=8, texttype=25))
dline.add(gdstk.Label('VSS', (33.34,3.875), layer=8, texttype=25))
dline.add(gdstk.Label('VSS', (35.77,3.82), layer=8, texttype=25))
dline.add(gdstk.Label('VSS', (37.855,3.835), layer=8, texttype=25))
dline.add(gdstk.Label('VDD', (27.48,2.555), layer=30, texttype=2))

lib.write_gds('DLINE.gds')
